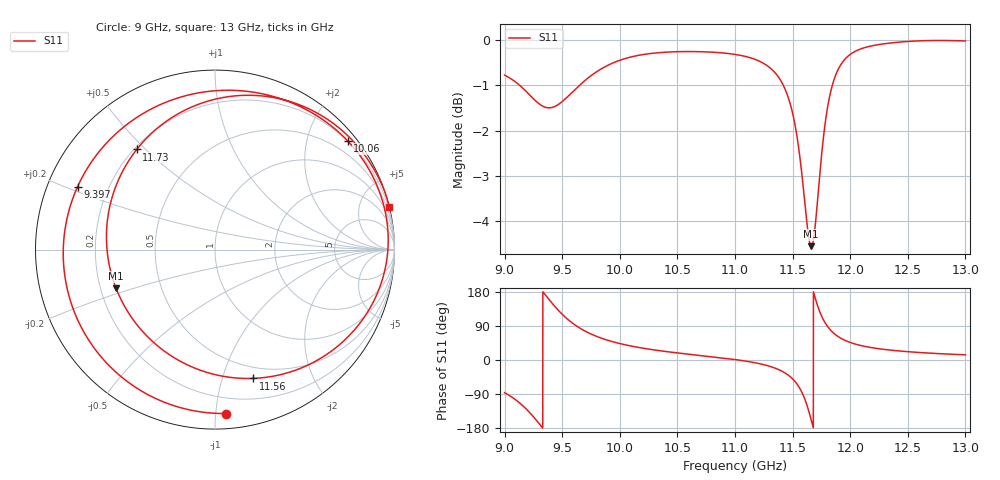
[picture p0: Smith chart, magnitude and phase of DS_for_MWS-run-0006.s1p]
! TOUCHSTONE file generated by CST DESIGN STUDIO
! Date and time: Tue Feb  4 12:43:41 2025
! Project name: C:\Work\MatlabApps\UnitCellOptimizationMatlab\CST\unitcell.cst
! Tree item: Tasks\Sweep1\SPara1\S-Parameters
! Header version: 2024
! Port assignment regex: !\s*Touchstone port\s*([0-9]+)\s*=\s*(CST MWS port|CST DES external port|CST DES block port)\s*(.+)\s* \(\"(.*)\"\)(\s*mode\s*([0-9]+))?.*
! Touchstone port assignment:
! Touchstone port 1 = CST DES external port 1 ("")
# GHz S MA R 50
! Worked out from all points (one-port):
!   4001 points, 9 GHz to 13 GHz, reference 50 ohm
!   lowest |S11| = -4.6 dB at 11.66 GHz (marker M1), VSWR 3.90, Z = 13.3 - j8.83 ohm
!   |S11| at or under -10 dB: nowhere
!   S11 on the Smith chart (normalised r, x): 9 GHz: 0.09, -1.06; 9.397 GHz: 0.09, +0.22; 10.06 GHz: 0.20, +2.78; 11.56 GHz: 0.39, -1.26; 11.73 GHz: 0.21, +0.47; 13 GHz: 0.06, +8.33
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9  0.9152 -86.3
9.104  0.8974 -106.8
9.189  0.8774 -129.7
9.3  0.8505 -167.9
9.397  0.8421 155.3
9.5  0.8555 120.7
9.6  0.8794 94.9
9.733  0.9103 71.0
9.856  0.9325 55.9
10  0.9504 43.4
10.058  0.9556 39.4
10.5  0.9714 18.7
11  0.9647 1.2
11.335  0.9245 -20.0
11.429  0.8864 -33.2
11.5  0.8305 -49.8
11.56  0.7482 -73.5
11.613  0.6478 -108.9
11.662  0.5918 -158.5
11.696  0.6229 163.7
11.735  0.7083 128.0
11.774  0.7933 102.6
11.819  0.8638 82.5
11.899  0.9304 61.1
12  0.9647 46.3
12.187  0.986 32.6
12.5  0.9971 22.0
13  0.9984 13.7
